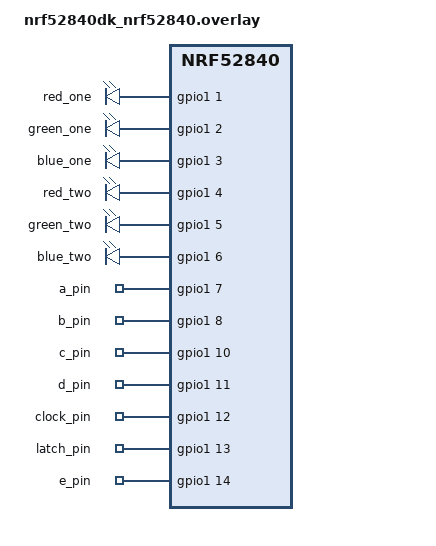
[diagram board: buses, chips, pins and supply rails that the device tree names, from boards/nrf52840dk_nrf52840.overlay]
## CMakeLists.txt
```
# SPDX-License-Identifier: Apache-2.0

cmake_minimum_required(VERSION 3.20.0)
find_package(Zephyr REQUIRED HINTS $ENV{ZEPHYR_BASE})
project(base_node)

# Collect all the source files in app/prac2/src
FILE(GLOB app_sources src/*.c)

# Collect all the source files in lib. Note that
# the path given needs to be relative to the
# CMakeLists root, which is app/prac2 here,
# hence the ../../lib.c.
FILE(GLOB lib_sources ../mylib/*.c)
#FILE(GLOB lib_sources ../mylib/UART.c)

# Tell CMake to build with the app and lib sources
target_sources(app PRIVATE ${app_sources} ${lib_sources})

# Tell CMake where our header files are
target_include_directories(app PRIVATE ../include)
```

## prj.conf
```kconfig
CONFIG_BT=y
# CONFIG_BT_BROADCASTER=y
CONFIG_BT_OBSERVER=y
#CONFIG_BT_PERIPHERAL=y
#CONFIG_BT_GATT_CLIENT=y
#CONFIG_BT_MAX_CONN=1

CONFIG_GPIO=y
```

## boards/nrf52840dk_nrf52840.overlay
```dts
/ {
    gpios {
        compatible = "gpio-leds";
        red_one: red_one{
            gpios = <&gpio1 1 GPIO_ACTIVE_HIGH>;
        };
        green_one: green_one{
            gpios = <&gpio1 2 GPIO_ACTIVE_HIGH>;
        };
        blue_one: blue_one{
            gpios = <&gpio1 3 GPIO_ACTIVE_HIGH>;
        };
        red_two: red_two{
            gpios = <&gpio1 4 GPIO_ACTIVE_HIGH>;
        };
        green_two: green_two{
            gpios = <&gpio1 5 GPIO_ACTIVE_HIGH>;
        };
        blue_two: blue_two{
            gpios = <&gpio1 6 GPIO_ACTIVE_HIGH>;
        };
        a_pin: a_pin{
            gpios = <&gpio1 7 GPIO_ACTIVE_HIGH>;
        };
        b_pin: b_pin{
            gpios = <&gpio1 8 GPIO_ACTIVE_HIGH>;
        };
        c_pin: c_pin{
            gpios = <&gpio1 10 GPIO_ACTIVE_HIGH>;
        };
        d_pin: d_pin{
            gpios = <&gpio1 11 GPIO_ACTIVE_HIGH>;
        };
        clock_pin: clk_pin{
            gpios = <&gpio1 12 GPIO_ACTIVE_HIGH>;
        };
        latch_pin: latch_pin{
            gpios = <&gpio1 13 GPIO_ACTIVE_HIGH>;
        };
        e_pin: e_pin{
            gpios = <&gpio1 14 GPIO_ACTIVE_HIGH>;
        };
    };
};
```

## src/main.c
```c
#include <HUB75_driver.h>

#include <zephyr/types.h>
#include <stddef.h>
#include <errno.h>
#include <zephyr/kernel.h>
#include <zephyr/sys/printk.h>
#include <stdio.h>
#include <string.h>
#include <zephyr/drivers/gpio.h>

#include <zephyr/bluetooth/bluetooth.h>
#include <zephyr/bluetooth/hci.h>



K_MSGQ_DEFINE(my_msgq, sizeof(uint8_t), 20, 4);

int scoreH = 0;
int scoreA = 0;
int classcount = 0;
int half_count = 0;

// in classification
// half is 1
// team 1 score is 2
// scrum is 3
// team 2 score is 4



char BASE_NODE_ADDR[27] = "D5:16:43:05:C3:C4 (random)\0";

static bool reading_parse_cb(struct bt_data *data, void *user_data) {
    if ((data->type) == BT_DATA_MANUFACTURER_DATA) {
        // printing received data
        
        // for (int i = 0; i < data->data_len; i++) {
        //     printk("%d ", data->data[i]);
        // }
        // printk("\n");

        // now decode your received data here

        if (data->data[0] != 0) {
            uint8_t classification = data->data[0];        // classification from machine
            uint8_t class_count = data->data[1];        // total count of gestures (use to check if new gesture in)
            // ^ class_count, have a prev_count variable and check if they are same or different. 
            // This is cause you'll be reading multiple of the same packets, so you need to know
            // when the matrix actually needs to be updated

            // USE THESE VALUES TO UPDATE LED MATRIX

            // printk("%d %d\n", classification, class_count);

            if (class_count != classcount) {
                
                printk("%d %d\n", classification, class_count);

                //printk("hi\n");
                classcount = class_count;

                //update_score(scoreH, scoreA);

                printk("classification sending: %d\n", classification);

                if (k_msgq_put(&my_msgq, &classification, K_NO_WAIT) != 0) {
                    /* Queue is full, we could purge it, a loop can be
                    * implemented here to keep trying after a purge.
                    */
                    k_msgq_purge(&my_msgq);
                }

                //k_msleep(10);

                
            }
        }

        
        
    }

    return true;
}

static void device_found(const bt_addr_le_t *addr, int8_t rssi,
    uint8_t type, struct net_buf_simple *ad)
{
    char addr_str[BT_ADDR_LE_STR_LEN];
    bt_addr_le_to_str(addr, addr_str, sizeof(addr_str));

    //printk("Device found: %s (RSSI %d)\n", addr_str, rssi);

    if (!strcmp(addr_str, BASE_NODE_ADDR)){
        bt_data_parse(ad, reading_parse_cb, (void *)addr);
        //printk("found\n");
    }
}

void init_read(void) {
    k_sleep(K_MSEC(1000));
    int err = bt_enable(NULL);
    if (err) {
        printk("Bluetooth init failed (err %d)\n", err);
        return;
    }

    printk("Bluetooth initialized\n");

    struct bt_le_scan_param scan_param = {
        .type       = BT_LE_SCAN_TYPE_PASSIVE,
        .options    = BT_LE_SCAN_OPT_FILTER_DUPLICATE,
        .interval   = BT_GAP_SCAN_FAST_INTERVAL,
        .window     = BT_GAP_SCAN_FAST_WINDOW,
    };

    err = bt_le_scan_start(&scan_param, device_found);
    if (err) {
        printk("Start scanning failed (err %d)\n", err);
        return;
    }
    printk("Started scanning.......\n");

    //while(1) {k_sleep(K_FOREVER);}
}


void main_thread(void) {
    k_sleep(K_MSEC(1000));

    init_pins();

    update_score(0, 0);
    print_teams();

    while(1) {
        refresh_screen();
        //k_sleep(K_MSEC(10));
    }

    return;
}

void update_screen_thread(void) {
    uint8_t rx_data;
    //printk("hi\n");
    while (1) {
        // read continuously from uart
        printk("reading\n");
        if (k_msgq_get(&my_msgq, &rx_data, K_FOREVER) == 0) {

            printk("receiving: %d\n", rx_data);

            switch(rx_data) {
                case 1:
                    if (half_count%2) {
                        scoreH = 0;
                        scoreA = 0;
                        update_score(scoreH, scoreA);
                        print_fulltime();
                    } else {
                        print_halftime();
                    }
                    half_count++;
                    break;
                case 2:
                    scoreH++;
                    update_score(scoreH, scoreA);
                    print_try();
                    break;
                case 3:
                    print_adv();
                    break;
                case 4:
                    scoreA++;
                    update_score(scoreH, scoreA);
                    print_try();
                    break;

             }

            k_msleep(3000);
            print_teams();
            memset(&rx_data, 0, sizeof(uint8_t));

        }

        
        
    }
}

K_THREAD_DEFINE(update_screen_id, 1024, update_screen_thread, NULL, NULL, NULL, 
    6, 0, 0);


// make sure to define stack and priority
K_THREAD_DEFINE(init_read_id, 512, init_read, NULL, NULL, NULL, 
    7, 0, 0);

K_THREAD_DEFINE(main_thread_id, 512, main_thread, NULL, NULL, NULL, 7, 0, 0);
```
